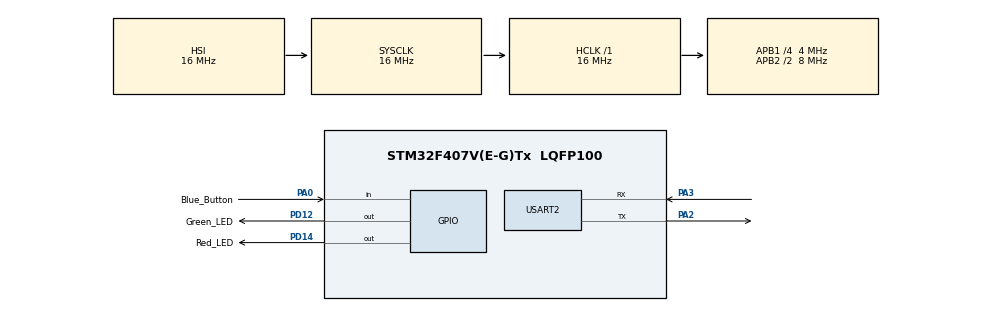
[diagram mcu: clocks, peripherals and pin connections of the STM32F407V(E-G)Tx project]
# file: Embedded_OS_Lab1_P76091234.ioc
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Mcu.Family=STM32F4
Mcu.Name=STM32F407V(E-G)Tx
Mcu.Package=LQFP100
NVIC.PriorityGroup=NVIC_PRIORITYGROUP_4
NVIC.TIM7_IRQn=true\:0\:0\:false\:false\:true\:false\:true
NVIC.TimeBase=TIM7_IRQn
NVIC.TimeBaseIP=TIM7
PA0-WKUP.GPIO_Label=Blue_Button
PA0-WKUP.Signal=GPIO_Input
PA13.Mode=Serial_Wire
PA13.Signal=SYS_JTMS-SWDIO
PA14.Mode=Serial_Wire
PA14.Signal=SYS_JTCK-SWCLK
PA2.Mode=Asynchronous
PA2.Signal=USART2_TX
PA3.Mode=Asynchronous
PA3.Signal=USART2_RX
PD12.GPIO_Label=Green_LED
PD12.Signal=GPIO_Output
PD14.GPIO_Label=Red_LED
PD14.Signal=GPIO_Output
ProjectManager.HeapSize=0x200
ProjectManager.StackSize=0x400
ProjectManager.TargetToolchain=STM32CubeIDE
RCC.48MHZClocksFreq_Value=84000000
RCC.AHBFreq_Value=16000000
RCC.APB1CLKDivider=RCC_HCLK_DIV4
RCC.APB1Freq_Value=4000000
RCC.APB1TimFreq_Value=8000000
RCC.APB2CLKDivider=RCC_HCLK_DIV2
RCC.APB2Freq_Value=8000000
RCC.APB2TimFreq_Value=16000000
RCC.CortexFreq_Value=16000000
RCC.HCLKFreq_Value=16000000
RCC.HSE_VALUE=16000000
RCC.HSI_VALUE=16000000
RCC.LSE_VALUE=32768
RCC.PLLM=8
RCC.PLLN=168
RCC.SYSCLKFreq_VALUE=16000000
RCC.VCOOutputFreq_Value=336000000
USART2.VirtualMode=VM_ASYNC
VP_SYS_VS_tim7.Mode=TIM7
board=custom

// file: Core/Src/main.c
/* USER CODE BEGIN Header */
/**
  ******************************************************************************
  * @file           : main.c
  * @brief          : Main program body
  ******************************************************************************
  * @attention
  *
  * <h2><center>&copy; Copyright (c) 2021 STMicroelectronics.
  * All rights reserved.</center></h2>
  *
  * This software component is licensed by ST under BSD 3-Clause license,
  * the "License"; You may not use this file except in compliance with the
  * License. You may obtain a copy of the License at:
  *                        opensource.org/licenses/BSD-3-Clause
  *
  ******************************************************************************
  */
/* USER CODE END Header */
#include "main.h"

/* USER CODE BEGIN Includes */
#include "FreeRTOS.h"
#include "task.h"
#include "queue.h"
/* USER CODE END Includes */

UART_HandleTypeDef huart2;

void SystemClock_Config(void);
static void MX_GPIO_Init(void);
static void MX_USART2_UART_Init(void);
/* USER CODE BEGIN PFP */
void LEDTask_App(void *pvParameters);
void LBtnTask_App(void *pvParameters);
void TaskMonitor_App(void *pvParameters);
void Task_App(void *pvParameters);
/* USER CODE END PFP */

/* USER CODE BEGIN 0 */
QueueHandle_t xQueue1;
/* USER CODE END 0 */

int main(void)
{

  /* MCU Configuration--------------------------------------------------------*/

  /* Reset of all peripherals, Initializes the Flash interface and the Systick. */
  HAL_Init();

  /* Configure the system clock */
  SystemClock_Config();

  /* Initialize all configured peripherals */
  MX_GPIO_Init();
  MX_USART2_UART_Init();
  /* USER CODE BEGIN 2 */
  xTaskCreate(LEDTask_App,"LEDTask",128,(void *) NULL,1,NULL);
  xTaskCreate(LBtnTask_App,"LBtnTask",128,(void *) NULL,1,NULL);
  xTaskCreate(TaskMonitor_App,"Monitor",128,(void *) NULL,2,NULL);
  xTaskCreate(Task_App,"Task_App",128,(void *) NULL,14,NULL);
  xQueue1 = xQueueCreate(2,sizeof(int));
  vTaskStartScheduler();
  /* USER CODE END 2 */

  /* Infinite loop */
  while (1)
  {

  }
}

void SystemClock_Config(void)
{
  RCC_OscInitTypeDef RCC_OscInitStruct = {0};
  RCC_ClkInitTypeDef RCC_ClkInitStruct = {0};

  /** Configure the main internal regulator output voltage
  */
  __HAL_RCC_PWR_CLK_ENABLE();
  __HAL_PWR_VOLTAGESCALING_CONFIG(PWR_REGULATOR_VOLTAGE_SCALE1);
  /** Initializes the RCC Oscillators according to the specified parameters
  * in the RCC_OscInitTypeDef structure.
  */
  RCC_OscInitStruct.OscillatorType = RCC_OSCILLATORTYPE_HSI;
  RCC_OscInitStruct.HSIState = RCC_HSI_ON;
  RCC_OscInitStruct.HSICalibrationValue = RCC_HSICALIBRATION_DEFAULT;
  RCC_OscInitStruct.PLL.PLLState = RCC_PLL_NONE;
  if (HAL_RCC_OscConfig(&RCC_OscInitStruct) != HAL_OK)
  {
    Error_Handler();
  }
  /** Initializes the CPU, AHB and APB buses clocks
  */
  RCC_ClkInitStruct.ClockType = RCC_CLOCKTYPE_HCLK|RCC_CLOCKTYPE_SYSCLK
                              |RCC_CLOCKTYPE_PCLK1|RCC_CLOCKTYPE_PCLK2;
  RCC_ClkInitStruct.SYSCLKSource = RCC_SYSCLKSOURCE_HSI;
  RCC_ClkInitStruct.AHBCLKDivider = RCC_SYSCLK_DIV1;
  RCC_ClkInitStruct.APB1CLKDivider = RCC_HCLK_DIV4;
  RCC_ClkInitStruct.APB2CLKDivider = RCC_HCLK_DIV2;

  if (HAL_RCC_ClockConfig(&RCC_ClkInitStruct, FLASH_LATENCY_0) != HAL_OK)
  {
    Error_Handler();
  }
}

static void MX_USART2_UART_Init(void)
{

  huart2.Instance = USART2;
  huart2.Init.BaudRate = 115200;
  huart2.Init.WordLength = UART_WORDLENGTH_8B;
  huart2.Init.StopBits = UART_STOPBITS_1;
  huart2.Init.Parity = UART_PARITY_NONE;
  huart2.Init.Mode = UART_MODE_TX_RX;
  huart2.Init.HwFlowCtl = UART_HWCONTROL_NONE;
  huart2.Init.OverSampling = UART_OVERSAMPLING_16;
  if (HAL_UART_Init(&huart2) != HAL_OK)
  {
    Error_Handler();
  }

}

static void MX_GPIO_Init(void)
{
  GPIO_InitTypeDef GPIO_InitStruct = {0};

  /* GPIO Ports Clock Enable */
  __HAL_RCC_GPIOA_CLK_ENABLE();
  __HAL_RCC_GPIOD_CLK_ENABLE();

  /*Configure GPIO pin Output Level */
  HAL_GPIO_WritePin(GPIOD, Green_LED_Pin|Red_LED_Pin, GPIO_PIN_RESET);

  /*Configure GPIO pin : Blue_Button_Pin */
  GPIO_InitStruct.Pin = Blue_Button_Pin;
  GPIO_InitStruct.Mode = GPIO_MODE_INPUT;
  GPIO_InitStruct.Pull = GPIO_NOPULL;
  HAL_GPIO_Init(Blue_Button_GPIO_Port, &GPIO_InitStruct);

  /*Configure GPIO pins : Green_LED_Pin Red_LED_Pin */
  GPIO_InitStruct.Pin = Green_LED_Pin|Red_LED_Pin;
  GPIO_InitStruct.Mode = GPIO_MODE_OUTPUT_PP;
  GPIO_InitStruct.Pull = GPIO_NOPULL;
  GPIO_InitStruct.Speed = GPIO_SPEED_FREQ_LOW;
  HAL_GPIO_Init(GPIOD, &GPIO_InitStruct);

}

/* USER CODE BEGIN 4 */
void LEDTask_App(void *pvParameters)
{
	  int Change_state_flag = 0; // It's for change state.
	  int BRW;  // It's for break while with "state" .
	  int message;
	  for(;;){
		  BRW = 1;
		  message = 0;
		  if(Change_state_flag){
			  while(BRW){
				  HAL_GPIO_WritePin(Green_LED_GPIO_Port,GPIO_PIN_12,GPIO_PIN_RESET); //Close the green LED
				  HAL_GPIO_WritePin(Red_LED_GPIO_Port,GPIO_PIN_14,GPIO_PIN_SET);
				  xQueueReceive(xQueue1,&message,1000);
				  //cc =uxQueueSpacesAvailable(xQueue1);
				  if(message){ // When a message is received from the queue
					  BRW = 0; // break while
					  Change_state_flag = 0; // Set change status flag
					  HAL_GPIO_WritePin(Red_LED_GPIO_Port,GPIO_PIN_14,GPIO_PIN_RESET);
					  break;
				  }
				  HAL_GPIO_WritePin(Red_LED_GPIO_Port,GPIO_PIN_14,GPIO_PIN_RESET);
				  xQueueReceive( xQueue1,&message,1000);
				  //cc =uxQueueSpacesAvailable(xQueue1);
				  if(message){
					  BRW = 0;
					  Change_state_flag = 0;
					  break;
				  }
			}
		  }else{
			  while(BRW){
				  HAL_GPIO_WritePin(Red_LED_GPIO_Port,GPIO_PIN_14,GPIO_PIN_RESET);
				  HAL_GPIO_WritePin(Green_LED_GPIO_Port,GPIO_PIN_12,GPIO_PIN_SET);
				  xQueueReceive( xQueue1,&message,500);
				  //cc =uxQueueSpacesAvailable(xQueue1);
				  if(message){
					  BRW = 0;
					  Change_state_flag = 1;
					  HAL_GPIO_WritePin(Green_LED_GPIO_Port,GPIO_PIN_12,GPIO_PIN_RESET);
					  break;
				  }
				  HAL_GPIO_WritePin(Green_LED_GPIO_Port,GPIO_PIN_12,GPIO_PIN_RESET);
				  HAL_GPIO_WritePin(Red_LED_GPIO_Port,GPIO_PIN_14,GPIO_PIN_SET);
				  xQueueReceive( xQueue1,&message,500);
				  //cc =uxQueueSpacesAvailable(xQueue1);
				  if(message){
					  BRW = 0;
					  Change_state_flag = 1;
					  HAL_GPIO_WritePin(Red_LED_GPIO_Port,GPIO_PIN_14,GPIO_PIN_RESET);
				  }

			  }
	  /* USER CODE END 5 */
		  }
	  }
}
/* USER CODE BEGIN Header_LBtnTask_App */
/**
* @brief Function implementing the LBtnTask thread.
* @param argument: Not used
* @retval None
*/
/* USER CODE END Header_LBtnTask_App */
void LBtnTask_App(void *pvParameters)
{
	  /* USER CODE BEGIN LBtnTask_App */
	  /* Infinite loop */
	  uint8_t curr_state,prev_state = 0; //State for the button，Used to solve edge detection.
	  int message = 1;
	  for(;;)
	  {
		  curr_state = HAL_GPIO_ReadPin(Blue_Button_GPIO_Port,GPIO_PIN_0);
		  if((curr_state == 1) && (prev_state == 0)){
//		  if(HAL_GPIO_ReadPin(Blue_Button_GPIO_Port,GPIO_PIN_0)){
			  xQueueSend(xQueue1,&message, 0);
		 }
		  prev_state = curr_state;
	  }
	  /* USER CODE END LBtnTask_App */
}

void TaskMonitor_App(void *pvParameters){
	uint8_t i = 100;
	  for(;;)
	  {
		  	Taskmonitor();
		  	i +=  1;
		  	vTaskDelay(i);
	  }
	  /* USER CODE END LBtnTask_App */
}

void Task_App(void *pvParameters){

	  for(;;)
	  {
		  	vTaskDelay(15000);
	  }
	  /* USER CODE END LBtnTask_App */
}
/* USER CODE END 4 */

 /**
  * @brief  Period elapsed callback in non blocking mode
  * @note   This function is called  when TIM7 interrupt took place, inside
  * HAL_TIM_IRQHandler(). It makes a direct call to HAL_IncTick() to increment
  * a global variable "uwTick" used as application time base.
  * @param  htim : TIM handle
  * @retval None
  */
void HAL_TIM_PeriodElapsedCallback(TIM_HandleTypeDef *htim)
{
  if (htim->Instance == TIM7) {
    HAL_IncTick();
  }
}

void Error_Handler(void)
{
  __disable_irq();
  while (1)
  {
  }
}

/************************ (C) COPYRIGHT STMicroelectronics *****END OF FILE****/
